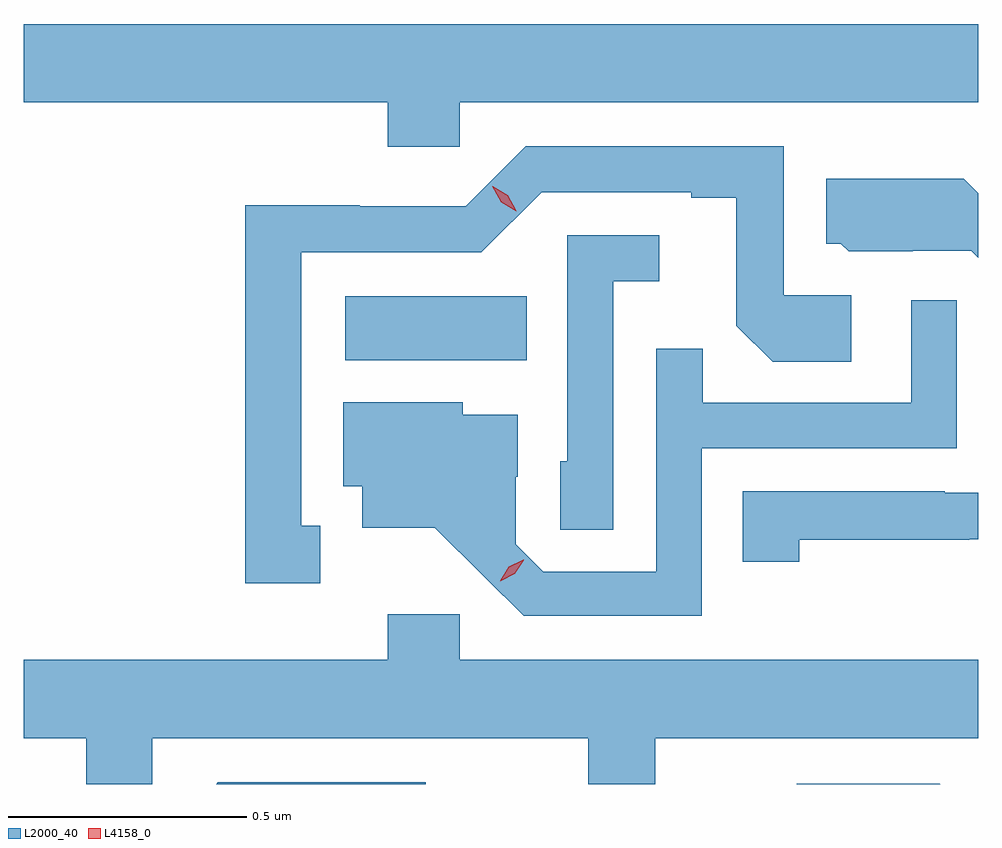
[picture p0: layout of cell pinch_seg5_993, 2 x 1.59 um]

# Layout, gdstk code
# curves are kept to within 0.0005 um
import gdstk
lib = gdstk.Library(unit=1e-6, precision=1e-09)
def R(c, l, rs):  # rectangles x0, y0, x1, y1
    for r in rs: c.add(gdstk.rectangle(r[:2], r[2:], *l))
def P(c, l, *ps):  # polygons
    for p in ps: c.add(gdstk.Polygon(p, *l))
L2000_40 = (2000, 40)
L4158_0 = (4158, 0)

pinch_seg5_993 = lib.new_cell('pinch_seg5_993')
R(pinch_seg5_993, L2000_40, [(754.758,877.532,755.138,877.666)])
P(pinch_seg5_993, L2000_40, [(754.998,878.072),(756.084,878.072),(756.084,878.236),(754.084,878.236),(754.084,878.072),(754.847,878.072),(754.847,877.979),(754.998,877.979)],
  [(754.705,877.185),(754.666,877.185),(754.666,877.758),(755.043,877.758),(755.169,877.884),(755.483,877.884),(755.483,877.872),(755.577,877.872),(755.577,877.604),(755.653,877.528),(755.818,877.528),(755.818,877.668),(755.676,877.668),(755.676,877.98),(755.136,877.98),(755.01,877.854),(754.788,877.854),(754.788,877.856),(754.548,877.856),(754.548,877.065),(754.705,877.065)],
  [(756.084,877.881),(756.053,877.912),(755.765,877.912),(755.765,877.776),(755.796,877.776),(755.812,877.76),(755.946,877.76),(755.946,877.761),(756.069,877.761),(756.084,877.746)],
  [(755.319,877.697),(755.416,877.697),(755.416,877.794),(755.223,877.794),(755.223,877.32),(755.208,877.32),(755.208,877.177),(755.319,877.177)],
  [(755.505,877.347),(756.039,877.347),(756.039,877.657),(755.943,877.657),(755.943,877.443),(755.507,877.443),(755.507,877.556),(755.409,877.556),(755.409,877.089),(755.172,877.089),(755.115,877.146),(755.115,877.288),(755.119,877.288),(755.119,877.417),(755.004,877.417),(755.004,877.444),(754.754,877.444),(754.754,877.268),(754.793,877.268),(754.793,877.181),(754.945,877.181),(755.132,876.996),(755.505,876.996)],
  [(755.709,877.156),(756.065,877.156),(756.065,877.157),(756.084,877.157),(756.084,877.254),(756.014,877.254),(756.014,877.257),(755.59,877.257),(755.59,877.11),(755.709,877.11)],
  [(754.353,876.74),(755.267,876.74),(755.267,876.644),(755.407,876.644),(755.407,876.74),(756.084,876.74),(756.084,876.904),(754.998,876.904),(754.998,877),(754.847,877),(754.847,876.904),(754.084,876.904),(754.084,876.74),(754.215,876.74),(754.215,876.644),(754.353,876.644)],
  [(754.926,876.648),(754.491,876.648),(754.487,876.644),(754.926,876.644)],
  [(756.003,876.645),(755.703,876.645),(755.703,876.644),(756.004,876.644)])
P(pinch_seg5_993, L4158_0, [(755.082,877.069),(755.082,877.07),(755.1,877.099),(755.131,877.114),(755.132,877.114),(755.132,877.113),(755.113,877.084),(755.082,877.069)],
  [(755.116,877.844),(755.084,877.863),(755.066,877.896),(755.066,877.896),(755.067,877.896),(755.098,877.877),(755.116,877.845),(755.116,877.844)])

lib.write_gds('pinch_seg5_993.gds')
